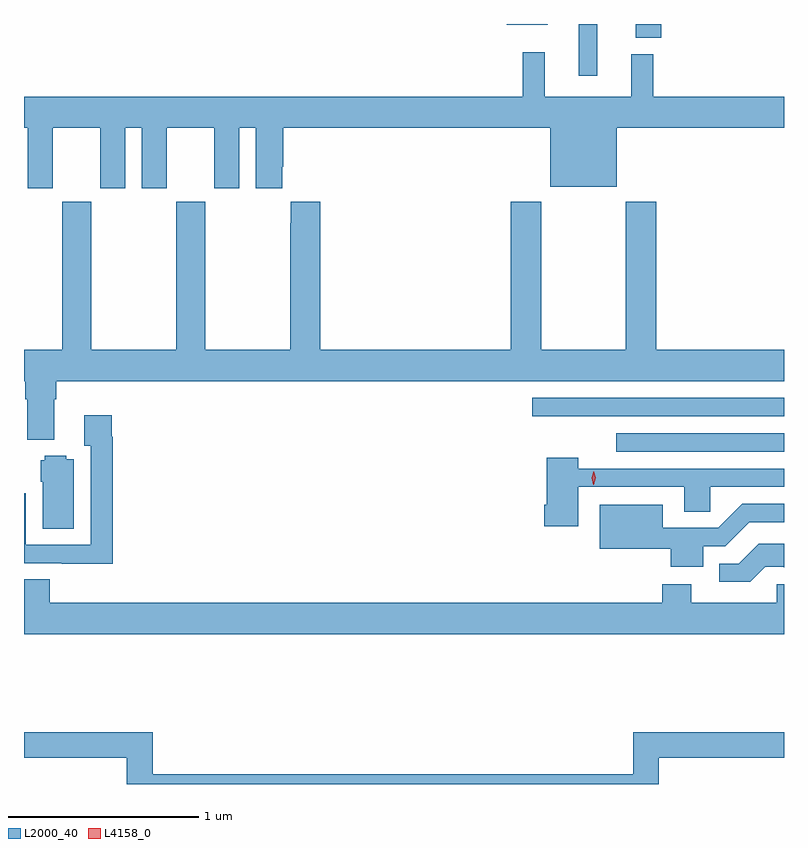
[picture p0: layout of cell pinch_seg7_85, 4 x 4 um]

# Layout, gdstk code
import gdstk
lib = gdstk.Library(unit=1e-6, precision=1e-09)
def R(c, l, rs):  # rectangles x0, y0, x1, y1
    for r in rs: c.add(gdstk.rectangle(r[:2], r[2:], *l))
def P(c, l, *ps):  # polygons
    for p in ps: c.add(gdstk.Polygon(p, *l))
L2000_40 = (2000, 40)
L4158_0 = (4158, 0)

pinch_seg7_85 = lib.new_cell('pinch_seg7_85')
R(pinch_seg7_85, L2000_40, [(913.185,1078.833,914.067,1078.929), (912.986,1080.81,913.083,1081.083), (913.286,1081.01,913.421,1081.083), (912.608,1081.079,912.823,1081.083)])
P(pinch_seg7_85, L2000_40, [(910.219,1080.536),(910.469,1080.536),(910.469,1080.219),(910.6,1080.219),(910.6,1080.536),(910.688,1080.536),(910.688,1080.219),(910.819,1080.219),(910.819,1080.536),(911.069,1080.536),(911.069,1080.219),(911.2,1080.219),(911.2,1080.536),(911.288,1080.536),(911.288,1080.219),(911.425,1080.219),(911.425,1080.331),(911.432,1080.331),(911.432,1080.536),(912.836,1080.536),(912.836,1080.227),(913.186,1080.227),(913.186,1080.536),(914.067,1080.536),(914.067,1080.7),(913.379,1080.7),(913.379,1080.925),(913.262,1080.925),(913.262,1080.7),(912.809,1080.7),(912.809,1080.934),(912.691,1080.934),(912.691,1080.7),(910.067,1080.7),(910.067,1080.536),(910.088,1080.536),(910.088,1080.219),(910.219,1080.219)],
  [(910.225,1079.108),(910.238,1079.108),(910.238,1079.204),(914.067,1079.204),(914.067,1079.368),(913.394,1079.368),(913.394,1080.148),(913.234,1080.148),(913.234,1079.368),(912.789,1079.368),(912.789,1080.148),(912.629,1080.148),(912.629,1079.368),(911.627,1079.368),(911.627,1080.148),(911.471,1080.148),(911.471,1080.035),(911.467,1080.035),(911.467,1079.368),(911.022,1079.368),(911.022,1080.148),(910.867,1080.148),(910.867,1079.368),(910.422,1079.368),(910.422,1080.148),(910.267,1080.148),(910.267,1079.368),(910.067,1079.368),(910.067,1079.204),(910.073,1079.204),(910.073,1079.108),(910.085,1079.108),(910.085,1078.895),(910.225,1078.895)],
  [(913.097,1079.019),(914.067,1079.019),(914.067,1079.115),(912.741,1079.115),(912.741,1079.018),(913.097,1079.018)],
  [(910.535,1078.91),(910.528,1078.91),(910.528,1079.023),(910.385,1079.023),(910.385,1078.862),(910.419,1078.862),(910.419,1078.341),(910.077,1078.341),(910.077,1078.612),(910.067,1078.612),(910.067,1078.245),(910.265,1078.245),(910.265,1078.241),(910.535,1078.241)],
  [(910.33,1078.792),(910.29,1078.792),(910.29,1078.81),(910.176,1078.81),(910.176,1078.788),(910.154,1078.788),(910.154,1078.674),(910.166,1078.674),(910.166,1078.426),(910.33,1078.426)],
  [(912.985,1078.647),(913.541,1078.647),(913.541,1078.517),(913.68,1078.517),(913.68,1078.647),(914.067,1078.647),(914.067,1078.743),(912.985,1078.743),(912.985,1078.801),(912.818,1078.801),(912.818,1078.552),(912.806,1078.552),(912.806,1078.44),(912.985,1078.44)],
  [(913.642,1078.335),(913.758,1078.335),(913.884,1078.461),(914.067,1078.461),(914.067,1078.557),(913.848,1078.557),(913.722,1078.431),(913.429,1078.431),(913.429,1078.552),(913.097,1078.552),(913.097,1078.322),(913.472,1078.322),(913.472,1078.226),(913.642,1078.226)],
  [(913.969,1078.227),(914.065,1078.227),(914.065,1078.223),(914.067,1078.223),(914.067,1078.348),(914.035,1078.348),(914.035,1078.347),(913.934,1078.347),(913.829,1078.242),(913.727,1078.242),(913.727,1078.148),(913.89,1078.148)],
  [(914.067,1078.135),(914.028,1078.135),(914.028,1078.036),(913.579,1078.036),(913.579,1078.135),(913.427,1078.135),(913.427,1078.036),(910.202,1078.036),(910.202,1078.16),(910.067,1078.16),(910.067,1077.872),(914.067,1077.872)],
  [(913.409,1077.22),(914.067,1077.22),(914.067,1077.356),(913.273,1077.356),(913.273,1077.134),(910.745,1077.134),(910.745,1077.356),(910.067,1077.356),(910.067,1077.22),(910.609,1077.22),(910.609,1077.083),(913.409,1077.083)])
P(pinch_seg7_85, L4158_0, [(913.064,1078.659),(913.064,1078.659),(913.055,1078.695),(913.065,1078.73),(913.066,1078.73),(913.066,1078.73),(913.075,1078.694),(913.065,1078.659)])

lib.write_gds('pinch_seg7_85.gds')
